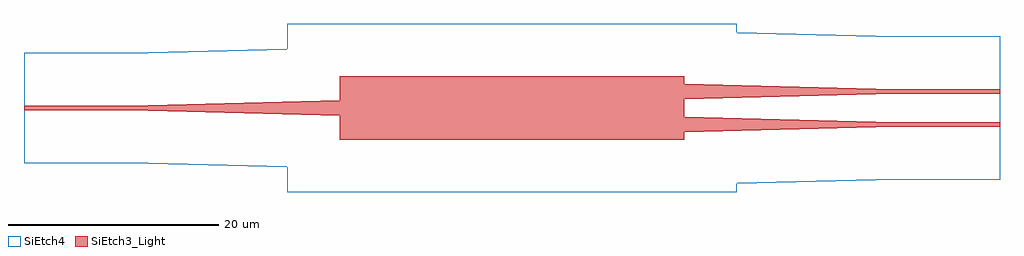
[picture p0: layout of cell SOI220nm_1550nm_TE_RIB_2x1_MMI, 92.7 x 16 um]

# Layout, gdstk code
import gdstk
lib = gdstk.Library(unit=1e-6, precision=1e-09)
def R(c, l, rs):  # rectangles x0, y0, x1, y1
    for r in rs: c.add(gdstk.rectangle(r[:2], r[2:], *l))
def P(c, l, *ps):  # polygons
    for p in ps: c.add(gdstk.Polygon(p, *l))
SiEtch3_Light = (3, 0)
SiEtch4 = (5, 0)

soi220nm_1550nm_te_rib_2 = lib.new_cell('SOI220nm_1550nm_TE_RIB_2x1_MMI')
R(soi220nm_1550nm_te_rib_2, SiEtch3_Light, [(30,-3,62.7,3), (82.7,-1.795,92.7,-1.345), (0,-0.225,10,0.225), (82.7,1.345,92.7,1.795)])
P(soi220nm_1550nm_te_rib_2, SiEtch3_Light, [(62.7,0.82),(62.7,2.32),(82.7,1.795),(82.7,1.345)],
  [(62.7,-2.32),(62.7,-0.82),(82.7,-1.345),(82.7,-1.795)],
  [(30,-0.75),(10,-0.225),(10,0.225),(30,0.75)])
P(soi220nm_1550nm_te_rib_2, SiEtch4, [(25,-8),(25,-5.62),(9.945,-5.225),(0,-5.225),(0,5.225),(9.945,5.225),(25,5.62),(25,8),(67.7,8),(67.7,7.19),(82.755,6.795),(92.7,6.795),(92.7,-6.795),(82.755,-6.795),(67.7,-7.19),(67.7,-8)])

lib.write_gds('SOI220nm_1550nm_TE_RIB_2x1_MMI.gds')
